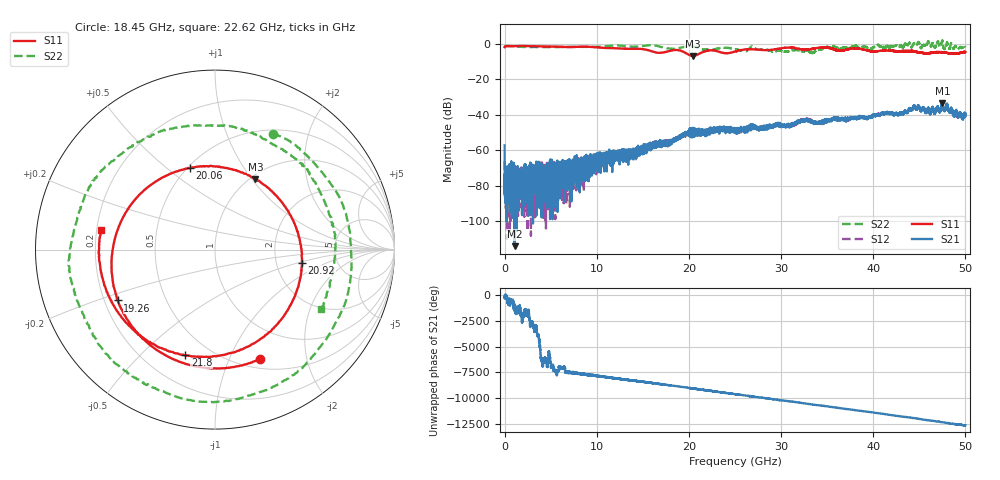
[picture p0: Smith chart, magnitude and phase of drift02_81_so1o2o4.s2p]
!Created with skrf (http://scikit-rf.org).
# Hz S RI R 50.0
!freq ReS11 ImS11 ReS21 ImS21 ReS12 ImS12 ReS22 ImS22
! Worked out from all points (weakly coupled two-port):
!   10001 points, 300 kHz to 50 GHz, reference 50 ohm
!   highest |S21| = -33.69 dB at 47.51 GHz (marker M1); lowest = -113.9 dB at 1.085 GHz (marker M2)
!   lowest |S11| = -6.9 dB at 20.4 GHz (marker M3), VSWR 2.65, Z = 52.8 + j51.9 ohm
!   |S11| at or under -10 dB: nowhere
!   |S22| runs from -5.3 to 1.8 dB; largest |S21 - S12| = 0.0035
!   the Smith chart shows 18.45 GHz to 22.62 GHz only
!   S11 on the Smith chart (normalised r, x): 18.45 GHz: 0.61, -1.31; 19.26 GHz: 0.25, -0.23; 20.06 GHz: 0.51, +0.60; 20.92 GHz: 2.80, -0.55; 21.8 GHz: 0.37, -0.69; 22.62 GHz: 0.22, +0.08
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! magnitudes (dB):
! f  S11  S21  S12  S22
! 300 kHz  -2.1  -57.3  -66.1  -1.3
! 255.3 MHz  -1.4  -83.5  -74.8  -1.4
! 1.085 GHz  -1.5  -113.9  -79.3  -1.6
! 5.61 GHz  -1.7  -70.9  -73.7  -2.0
! 8.335 GHz  -1.7  -70.0  -70.1  -1.9
! 16.67 GHz  -5.2  -55.8  -55.4  -1.4
! 18.45 GHz  -3.6  -54.5  -54.4  -2.8
! 19.26 GHz  -4.3  -51.4  -52.2  -2.1
! 20.06 GHz  -6.5  -52.0  -49.4  -1.5
! 20.4 GHz  -6.9  -51.0  -49.2  -1.7
! 20.92 GHz  -6.2  -50.6  -50.5  -2.1
! 21.8 GHz  -4.3  -49.5  -50.0  -3.5
! 22.62 GHz  -3.8  -50.2  -48.1  -3.4
! 25 GHz  -4.5  -48.6  -48.4  -3.2
! 26.1 GHz  -3.3  -48.2  -48.1  -4.3
! 26.9 GHz  -3.2  -47.0  -47.1  -1.7
! 33.34 GHz  -3.0  -43.9  -43.6  -5.0
! 34.89 GHz  -2.1  -43.9  -43.2  -2.2
! 41.67 GHz  -3.9  -39.4  -39.2  -2.1
! 44.63 GHz  -4.6  -36.6  -36.7  -0.5
! 47.51 GHz  -4.8  -33.7  -33.5  1.8
! 50 GHz  -4.7  -39.2  -39.9  -1.5
